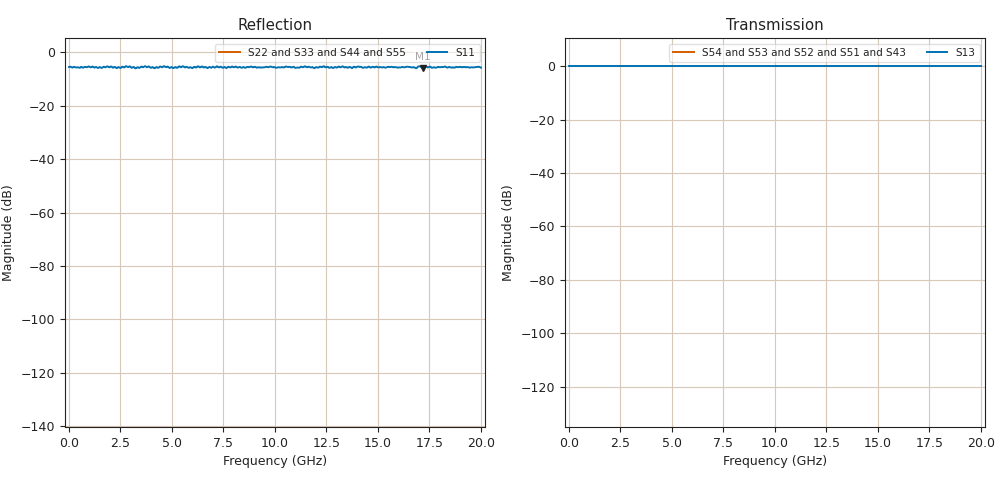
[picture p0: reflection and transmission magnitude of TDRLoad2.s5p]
! File created by SignalIntegrity v1.3.3: Signal and Power Integrity Tools
! https://github.com/TeledyneLeCroy/SignalIntegrity
# MHz S MA R 50.0
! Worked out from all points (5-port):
!   1000 points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, 20 MHz to 20 GHz, reference 50 ohm
!   strongest paths, dB at 20 MHz, 5.02 GHz, 10.02 GHz, 15.02 GHz, 20 GHz:
!     S13: 0.0, 0.0, 0.0, 0.0, 0.0
!     S54: -, -, -, -, -
!     S53: -, -, -, -, -
!     S52: -, -, -, -, -
!     S51: -, -, -, -, -
!     S43: -, -, -, -, -
!   lowest |S11| = -6.0 dB at 17.2 GHz (marker M1), VSWR 3.03, Z = 151 + j3.08 ohm
!   |S11| at or under -10 dB: nowhere
